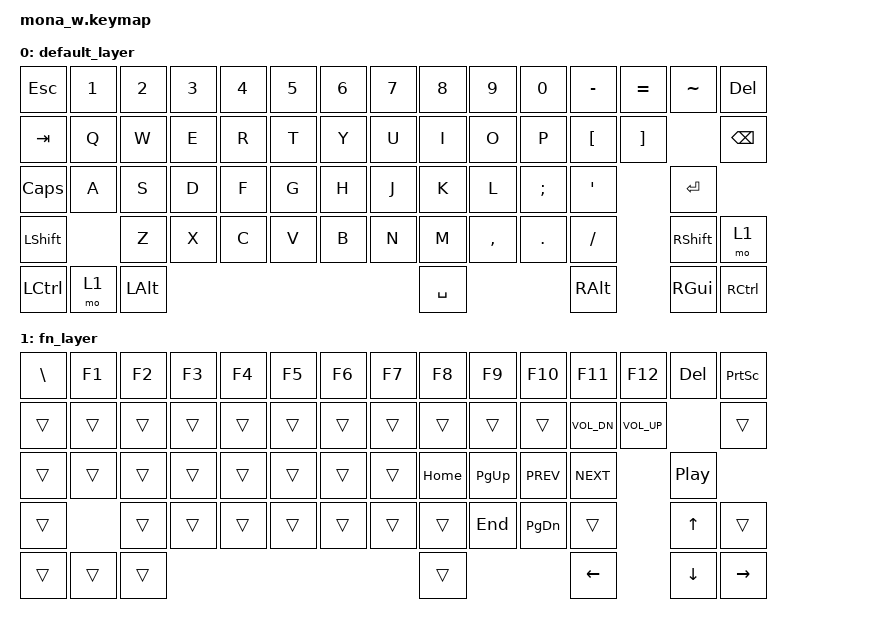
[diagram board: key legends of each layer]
/*
 * Copyright (c) 2023 Ramon Imbao
 *
 * SPDX-License-Identifier: MIT
 */

#include <behaviors.dtsi>
#include <dt-bindings/zmk/keys.h>

/ {
    keymap {
        compatible = "zmk,keymap";

        default_layer {
            bindings = <
&kp ESC    &kp N1  &kp N2    &kp N3  &kp N4  &kp N5  &kp N6  &kp N7  &kp N8     &kp N9     &kp N0    &kp MINUS  &kp EQUAL  &kp TILDE  &kp DEL
&kp TAB    &kp Q   &kp W     &kp E   &kp R   &kp T   &kp Y   &kp U   &kp I      &kp O      &kp P     &kp LBKT   &kp RBKT              &kp BACKSPACE
&kp CAPS   &kp A   &kp S     &kp D   &kp F   &kp G   &kp H   &kp J   &kp K      &kp L      &kp SEMI  &kp APOS              &kp ENTER
&kp LSHFT          &kp Z     &kp X   &kp C   &kp V   &kp B   &kp N   &kp M      &kp COMMA  &kp DOT   &kp SLASH             &kp RSHFT  &mo 1
&kp LCTRL  &mo 1   &kp LALT                                          &kp SPACE                       &kp RALT              &kp RGUI   &kp RCTRL
            >;
        };

        fn_layer {
            bindings = <
&kp BACKSLASH  &kp F1  &kp F2  &kp F3  &kp F4  &kp F5  &kp F6  &kp F7  &kp F8    &kp F9     &kp F10     &kp F11         &kp F12          &kp DELETE        &kp PRINTSCREEN
&trans         &trans  &trans  &trans  &trans  &trans  &trans  &trans  &trans    &trans     &trans      &kp C_VOL_DN    &kp C_VOLUME_UP                    &trans
&trans         &trans  &trans  &trans  &trans  &trans  &trans  &trans  &kp HOME  &kp PG_UP  &kp C_PREV  &kp C_NEXT                       &kp C_PLAY_PAUSE
&trans                 &trans  &trans  &trans  &trans  &trans  &trans  &trans    &kp END    &kp PG_DN   &trans                           &kp UP_ARROW      &trans
&trans         &trans  &trans                                          &trans                           &kp LEFT_ARROW                   &kp DOWN_ARROW    &kp RIGHT_ARROW
            >;
        };
    };
};
